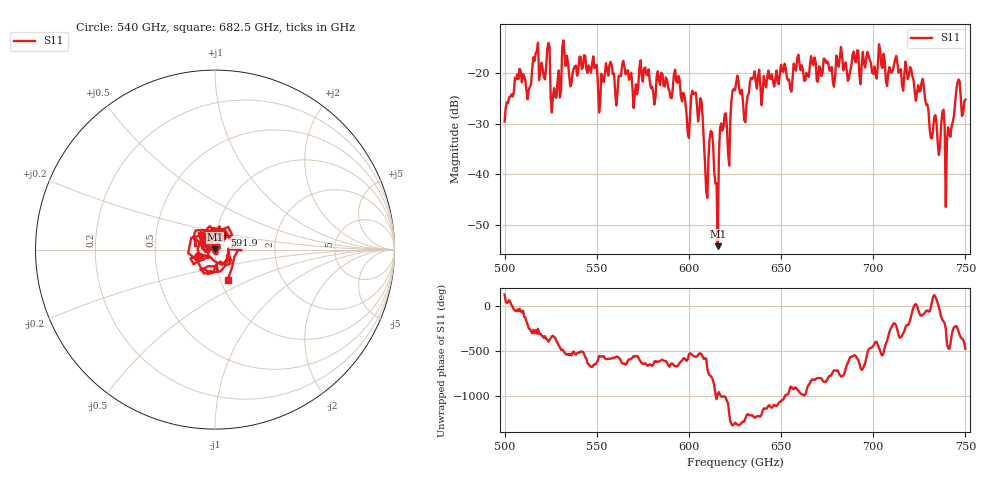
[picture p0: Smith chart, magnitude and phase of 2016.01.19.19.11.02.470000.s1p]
!Created with skrf (http://scikit-rf.org).
# GHz S RI R 50.0
!freq ReS11 ImS11
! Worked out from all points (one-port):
!   401 points, 500 GHz to 750 GHz, reference 50 ohm
!   lowest |S11| = -54.3 dB at 615.6 GHz (marker M1), VSWR 1.00, Z = 50 + j0.193 ohm
!   |S11| at or under -10 dB: start of sweep to end of sweep
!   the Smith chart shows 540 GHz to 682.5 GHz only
!   S11 on the Smith chart (normalised r, x): 540 GHz: 0.82, -0.07; 591.9 GHz: 1.10, +0.18; 682.5 GHz: 1.09, -0.37
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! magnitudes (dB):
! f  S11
! 500 GHz  -29.6
! 513.1 GHz  -23.2
! 516.9 GHz  -16.0
! 523.1 GHz  -15.3
! 526.2 GHz  -24.5
! 531.2 GHz  -15.0
! 540 GHz  -19.5
! 562.5 GHz  -20.6
! 591.9 GHz  -20.3
! 593.8 GHz  -21.9
! 599.4 GHz  -31.8
! 603.1 GHz  -24.0
! 606.9 GHz  -25.7
! 609.4 GHz  -43.4
! 611.9 GHz  -31.4
! 615.6 GHz  -54.3
! 618.1 GHz  -31.4
! 621.9 GHz  -38.3
! 625 GHz  -23.4
! 630.6 GHz  -29.7
! 634.4 GHz  -21.2
! 656.2 GHz  -20.9
! 682.5 GHz  -14.8
! 687.5 GHz  -19.6
! 718.8 GHz  -21.2
! 740.6 GHz  -30.7
! 745.6 GHz  -22.0
! 750 GHz  -25.3
